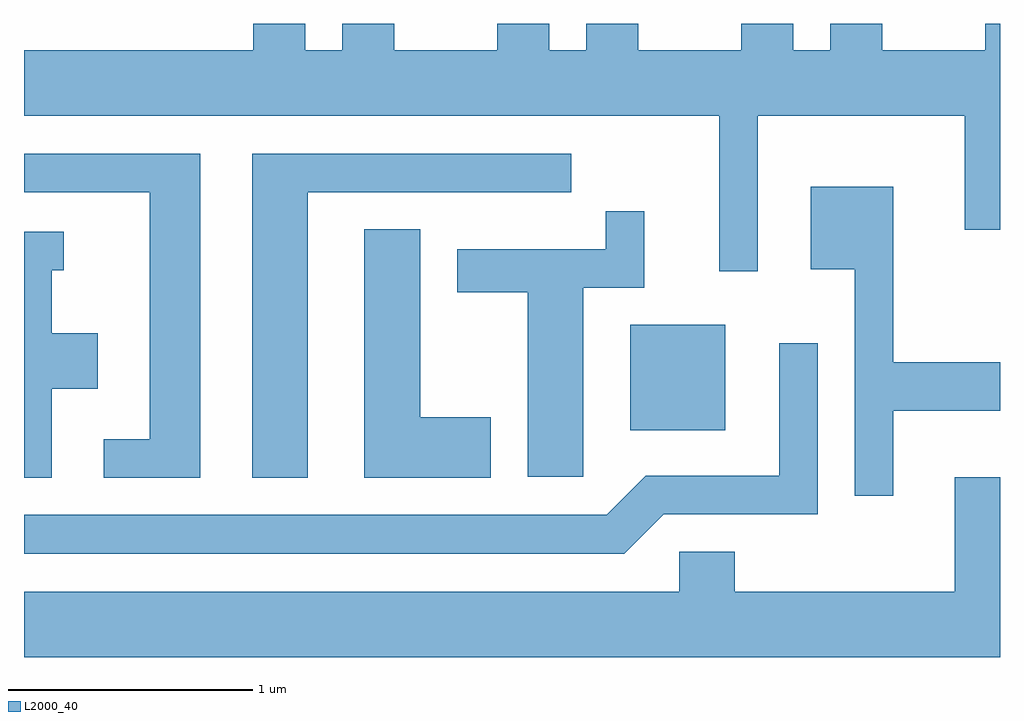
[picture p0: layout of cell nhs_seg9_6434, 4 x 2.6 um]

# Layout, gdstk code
import gdstk
lib = gdstk.Library(unit=1e-6, precision=1e-09)
def R(c, l, rs):  # rectangles x0, y0, x1, y1
    for r in rs: c.add(gdstk.rectangle(r[:2], r[2:], *l))
def P(c, l, *ps):  # polygons
    for p in ps: c.add(gdstk.Polygon(p, *l))
L2000_40 = (2000, 40)

nhs_seg9_6434 = lib.new_cell('nhs_seg9_6434')
R(nhs_seg9_6434, L2000_40, [(378.096,1972.766,378.484,1973.199)])
P(nhs_seg9_6434, L2000_40, [(378.619,1974.056),(379.466,1974.056),(379.466,1973.588),(379.611,1973.588),(379.611,1974.432),(379.551,1974.432),(379.551,1974.324),(379.129,1974.324),(379.129,1974.432),(378.916,1974.432),(378.916,1974.324),(378.764,1974.324),(378.764,1974.432),(378.551,1974.432),(378.551,1974.324),(378.129,1974.324),(378.129,1974.432),(377.916,1974.432),(377.916,1974.324),(377.764,1974.324),(377.764,1974.432),(377.551,1974.432),(377.551,1974.324),(377.129,1974.324),(377.129,1974.432),(376.916,1974.432),(376.916,1974.324),(376.764,1974.324),(376.764,1974.432),(376.551,1974.432),(376.551,1974.324),(375.611,1974.324),(375.611,1974.056),(378.461,1974.056),(378.461,1973.418),(378.619,1973.418)],
  [(376.774,1973.741),(377.853,1973.741),(377.853,1973.899),(376.546,1973.899),(376.546,1972.571),(376.774,1972.571)],
  [(376.334,1973.899),(375.611,1973.899),(375.611,1973.741),(376.126,1973.741),(376.126,1972.729),(375.938,1972.729),(375.938,1972.571),(376.334,1972.571)],
  [(379.174,1972.846),(379.611,1972.846),(379.611,1973.044),(379.174,1973.044),(379.174,1973.764),(378.836,1973.764),(378.836,1973.426),(379.016,1973.426),(379.016,1972.498),(379.174,1972.498)],
  [(377.904,1973.351),(378.154,1973.351),(378.154,1973.663),(377.996,1973.663),(377.996,1973.509),(377.386,1973.509),(377.386,1973.331),(377.676,1973.331),(377.676,1972.576),(377.904,1972.576)],
  [(377.524,1972.819),(377.234,1972.819),(377.234,1973.589),(377.006,1973.589),(377.006,1972.571),(377.524,1972.571)],
  [(375.724,1972.936),(375.914,1972.936),(375.914,1973.164),(375.724,1973.164),(375.724,1973.421),(375.773,1973.421),(375.773,1973.579),(375.611,1973.579),(375.611,1972.571),(375.724,1972.571)],
  [(378.232,1972.421),(378.864,1972.421),(378.864,1973.123),(378.706,1973.123),(378.706,1972.579),(378.159,1972.579),(377.999,1972.419),(375.611,1972.419),(375.611,1972.261),(378.072,1972.261)],
  [(379.611,1972.574),(379.426,1972.574),(379.426,1972.104),(378.524,1972.104),(378.524,1972.269),(378.296,1972.269),(378.296,1972.104),(375.611,1972.104),(375.611,1971.836),(379.611,1971.836)])

lib.write_gds('nhs_seg9_6434.gds')
